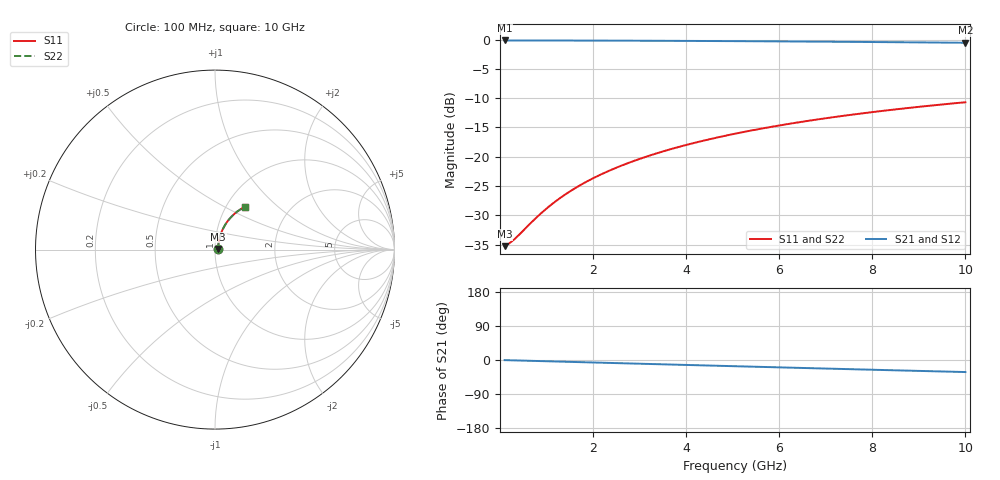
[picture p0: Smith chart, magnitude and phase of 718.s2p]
# Hz S RI R 50.00
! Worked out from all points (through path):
!   100 points, 100 MHz to 10 GHz, reference 50 ohm
!   highest |S21| = -0.15 dB at 100 MHz (marker M1); lowest = -0.5 dB at 10 GHz (marker M2)
!   group delay of S21, straight-line fit = 8.85 ps
!   lowest |S11| = -35.3 dB at 100 MHz (marker M3), VSWR 1.04, Z = 51.7 + j0.318 ohm
!   |S11| at or under -10 dB: start of sweep to end of sweep
!   |S22| runs from -35.3 to -10.7 dB; largest |S21 - S12| = 0
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1e8  0.017 0.00307  0.983 -0.00562  0.983 -0.00562  0.017 0.00307
2e8  0.0171 0.00614  0.9828 -0.0112  0.9828 -0.0112  0.0171 0.00614
3e8  0.0173 0.0092  0.9826 -0.0169  0.9826 -0.0169  0.0173 0.0092
8e8  0.0185 0.0245  0.9812 -0.0449  0.9812 -0.0449  0.0185 0.0245
9e8  0.0189 0.0275  0.9808 -0.0505  0.9808 -0.0505  0.0189 0.0275
1.1e9  0.0196 0.0336  0.9799 -0.0617  0.9799 -0.0617  0.0196 0.0336
1.4e9  0.021 0.0427  0.9783 -0.0784  0.9783 -0.0784  0.021 0.0427
1.6e9  0.0221 0.0487  0.977 -0.0895  0.977 -0.0895  0.0221 0.0487
1.8e9  0.0234 0.0547  0.9755 -0.1006  0.9755 -0.1006  0.0234 0.0547
2.1e9  0.0255 0.0636  0.973 -0.1172  0.973 -0.1172  0.0255 0.0636
2.5e9  0.0287 0.0753  0.9692 -0.1392  0.9692 -0.1392  0.0287 0.0753
2.9e9  0.0325 0.0869  0.9647 -0.1609  0.9647 -0.1609  0.0325 0.0869
3.4e9  0.0379 0.1011  0.9582 -0.1879  0.9582 -0.1879  0.0379 0.1011
3.8e9  0.0428 0.1121  0.9523 -0.2092  0.9523 -0.2092  0.0428 0.1121
4.2e9  0.0482 0.1229  0.9459 -0.2302  0.9459 -0.2302  0.0482 0.1229
4.6e9  0.054 0.1334  0.9389 -0.2509  0.9389 -0.2509  0.054 0.1334
5.1e9  0.062 0.1461  0.9293 -0.2764  0.9293 -0.2764  0.062 0.1461
5.9e9  0.076 0.1654  0.9124 -0.3162  0.9124 -0.3162  0.076 0.1654
6.7e9  0.0915 0.1831  0.8934 -0.3544  0.8934 -0.3544  0.0915 0.1831
7.5e9  0.1084 0.1993  0.8727 -0.3911  0.8727 -0.3911  0.1084 0.1993
8.4e9  0.1288 0.2155  0.8474 -0.4305  0.8474 -0.4305  0.1288 0.2155
1e10  0.1679 0.2387  0.7983 -0.4949  0.7983 -0.4949  0.1679 0.2387
